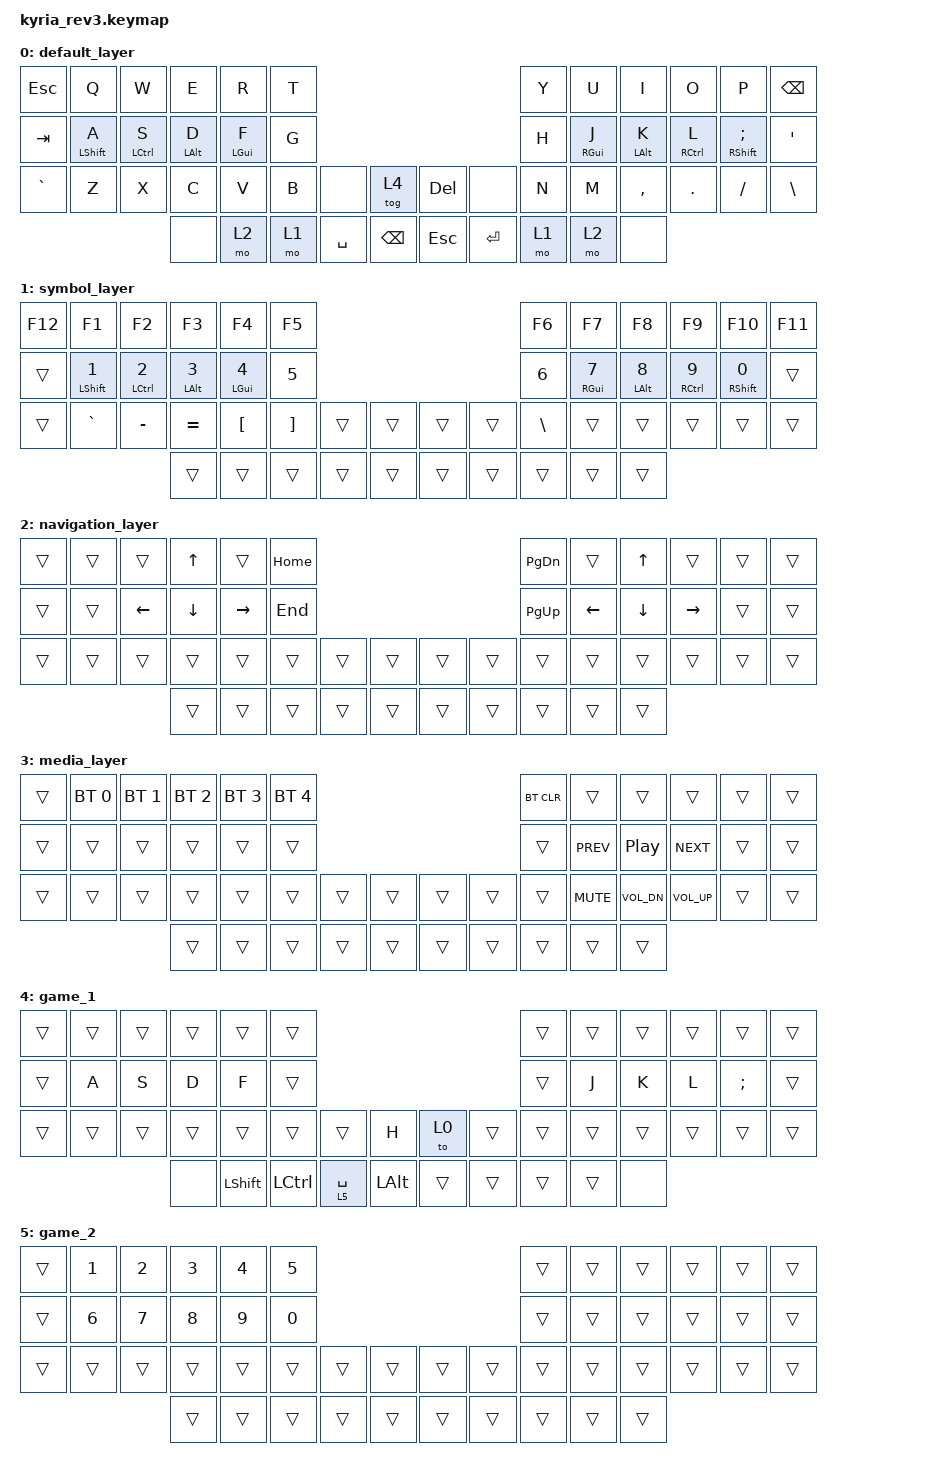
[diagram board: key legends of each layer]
/*
 * Copyright (c) 2023 The ZMK Contributors
 *
 * SPDX-License-Identifier: MIT
 */

#include <behaviors.dtsi>
#include <dt-bindings/zmk/bt.h>
#include <dt-bindings/zmk/keys.h>

#define DEFAULT   0
#define SYM       1
#define NAV       2
#define MEDIA     3
#define GAME1     4
#define GAME2     5

/ {
    conditional_layers {
        compatible = "zmk,conditional-layers";

        meia_layer {
            if-layers = <1 2>;
            then-layer = <3>;
        };
    };

    behaviors {
        hm: homerow_mods {
            compatible = "zmk,behavior-hold-tap";
            #binding-cells = <2>;
            tapping-term-ms = <200>;
            quick-tap-ms = <0>;
            flavor = "tap-preferred";
            bindings = <&kp>, <&kp>;
        };
    };

    keymap {
        compatible = "zmk,keymap";

        default_layer {
            bindings = <
&kp ESC    &kp Q         &kp W        &kp E       &kp R       &kp T                                                   &kp Y  &kp U       &kp I       &kp O        &kp P           &kp BACKSPACE
&kp TAB    &hm LSHIFT A  &hm LCTRL S  &hm LALT D  &hm LGUI F  &kp G                                                   &kp H  &hm RGUI J  &hm LALT K  &hm RCTRL L  &hm RSHFT SEMI  &kp SQT
&kp GRAVE  &kp Z         &kp X        &kp C       &kp V       &kp B  &none      &tog 4         &kp DELETE  &none      &kp N  &kp M       &kp COMMA   &kp DOT      &kp FSLH        &kp BACKSLASH
                                      &none       &mo 2       &mo 1  &kp SPACE  &kp BACKSPACE  &kp ESCAPE  &kp ENTER  &mo 1  &mo 2       &none
            >;
        };

        symbol_layer {
            bindings = <
&kp F12  &kp F1        &kp F2        &kp F3       &kp F4       &kp F5                                    &kp F6    &kp F7       &kp F8       &kp F9        &kp F10       &kp F11
&trans   &hm LSHFT N1  &hm LCTRL N2  &hm LALT N3  &hm LGUI N4  &kp N5                                    &kp N6    &hm RGUI N7  &hm LALT N8  &hm RCTRL N9  &hm RSHFT N0  &trans
&trans   &kp GRAVE     &kp MINUS     &kp EQUAL    &kp LBKT     &kp RBKT  &trans  &trans  &trans  &trans  &kp BSLH  &trans       &trans       &trans        &trans        &trans
                                     &trans       &trans       &trans    &trans  &trans  &trans  &trans  &trans    &trans       &trans
            >;
        };

        navigation_layer {
            bindings = <
&trans  &trans  &trans    &kp UP    &trans     &kp HOME                                  &kp PG_DN  &trans    &kp UP    &trans     &trans  &trans
&trans  &trans  &kp LEFT  &kp DOWN  &kp RIGHT  &kp END                                   &kp PG_UP  &kp LEFT  &kp DOWN  &kp RIGHT  &trans  &trans
&trans  &trans  &trans    &trans    &trans     &trans    &trans  &trans  &trans  &trans  &trans     &trans    &trans    &trans     &trans  &trans
                          &trans    &trans     &trans    &trans  &trans  &trans  &trans  &trans     &trans    &trans
            >;
        };

        media_layer {
            bindings = <
&trans  &bt BT_SEL 0  &bt BT_SEL 1  &bt BT_SEL 2  &bt BT_SEL 3  &bt BT_SEL 4                                  &bt BT_CLR  &trans      &trans        &trans        &trans  &trans
&trans  &trans        &trans        &trans        &trans        &trans                                        &trans      &kp C_PREV  &kp C_PP      &kp C_NEXT    &trans  &trans
&trans  &trans        &trans        &trans        &trans        &trans        &trans  &trans  &trans  &trans  &trans      &kp C_MUTE  &kp C_VOL_DN  &kp C_VOL_UP  &trans  &trans
                                    &trans        &trans        &trans        &trans  &trans  &trans  &trans  &trans      &trans      &trans
            >;
        };

        game_1 {
            bindings = <
&trans  &trans  &trans  &trans  &trans          &trans                                                       &trans  &trans  &trans  &trans  &trans    &trans
&trans  &kp A   &kp S   &kp D   &kp F           &trans                                                       &trans  &kp J   &kp K   &kp L   &kp SEMI  &trans
&trans  &trans  &trans  &trans  &trans          &trans            &trans       &kp H         &to 0   &trans  &trans  &trans  &trans  &trans  &trans    &trans
                        &none   &kp LEFT_SHIFT  &kp LEFT_CONTROL  &lt 5 SPACE  &kp LEFT_ALT  &trans  &trans  &trans  &trans  &none
            >;
        };

        game_2 {
            bindings = <
&trans  &kp N1  &kp N2  &kp N3  &kp N4  &kp N5                                  &trans  &trans  &trans  &trans  &trans  &trans
&trans  &kp N6  &kp N7  &kp N8  &kp N9  &kp N0                                  &trans  &trans  &trans  &trans  &trans  &trans
&trans  &trans  &trans  &trans  &trans  &trans  &trans  &trans  &trans  &trans  &trans  &trans  &trans  &trans  &trans  &trans
                        &trans  &trans  &trans  &trans  &trans  &trans  &trans  &trans  &trans  &trans
            >;
        };
    };
};
